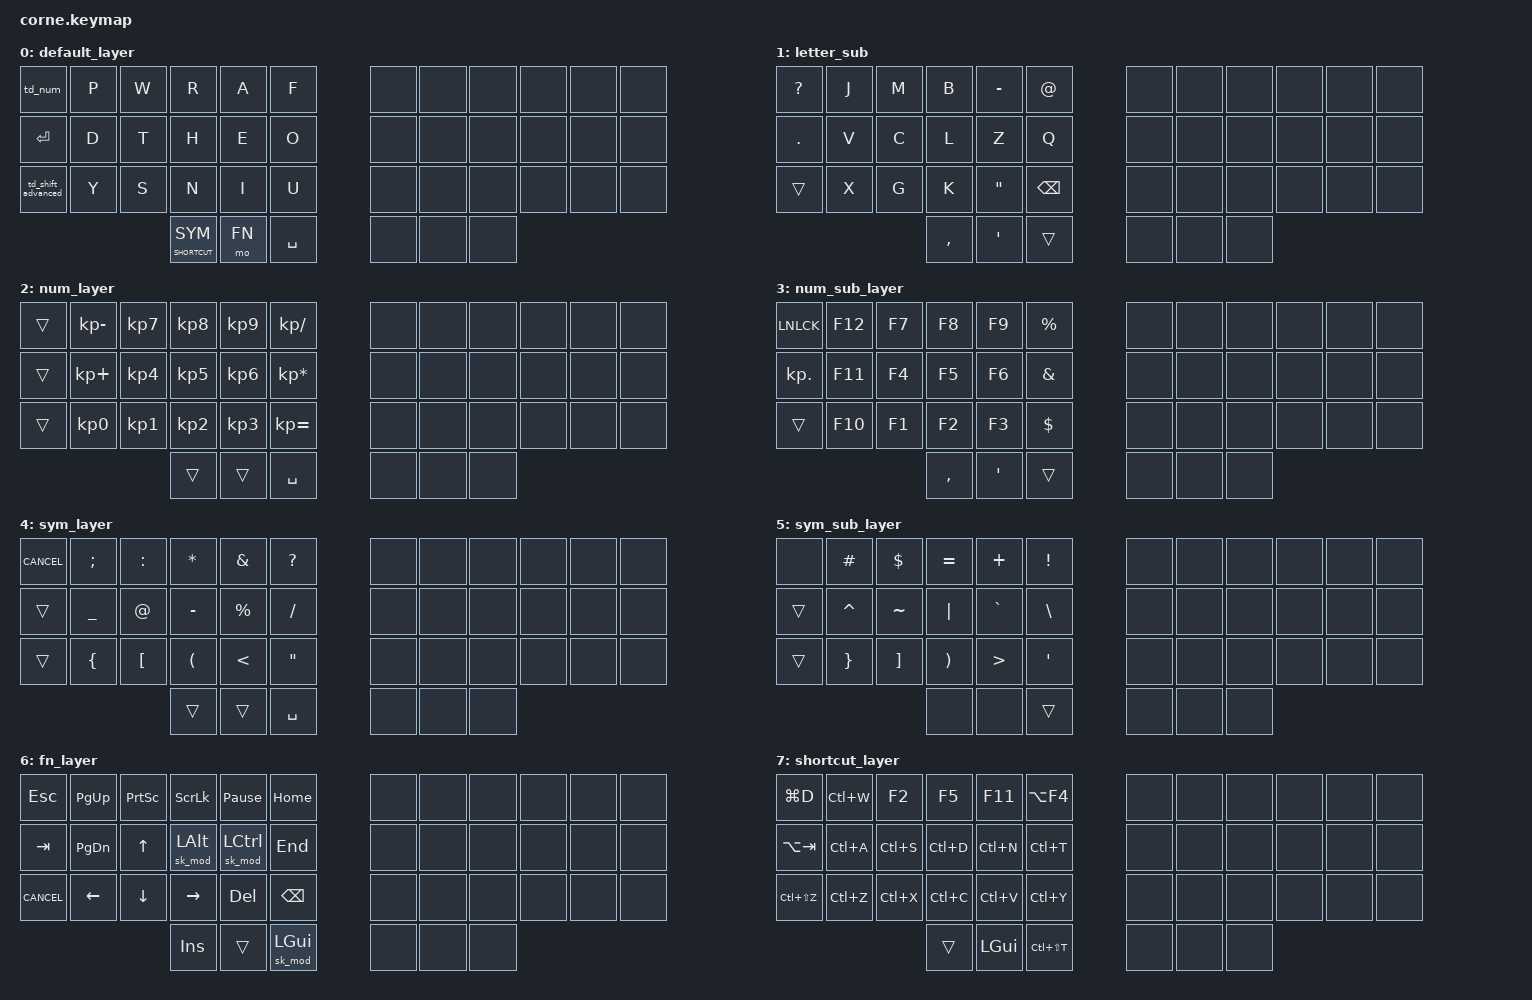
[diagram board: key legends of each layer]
/*
 * Copyright (c) 2020 The ZMK Contributors
 * SPDX-License-Identifier: MIT
 */

#include <behaviors.dtsi>
#include <dt-bindings/zmk/bt.h>
#include <dt-bindings/zmk/keys.h>
#include <dt-bindings/zmk/rgb.h>
#include <dt-bindings/zmk/ext_power.h>

#define DEFAULT 0
#define LETTER_SUB 1
#define NUM 2
#define NUM_SUB 3
#define SYM 4
#define SYM_SUB 5
#define FN 6
#define SHORTCUT 7

/* ตำแหน่ง key-position ของปุ่ม Space ใน flattened bindings array (แถวนิ้วโป้ง ตัวที่ 3) */
#define SPACE_POS 38

/ {
    behaviors {

        /* Custom Sticky Key สำหรับ Modifiers */
        sk_mod: sticky_key_modifiers {
            compatible = "zmk,behavior-sticky-key";
            label = "STICKY_KEY_MODIFIERS";
            #binding-cells = <1>;
            bindings = <&kp>;
            release-after-ms = <60000>; /* ค้างสถานะไว้นานสูงสุด 2 วินาที (ถ้าไม่กดอะไรเลยจะดับเอง) */
            ignore-modifiers;          /* กด Modifier ซ้อนกันหลายตัวได้โดยไม่ล้างสถานะกันเอง */
        };

        /* Tap-Dance Shift: 1 ที = Shift ปกติ, 2 ที = Shift Lock (&kt), 3 ที = Caps Lock */
        td_shift_advanced: tap_dance_shift_advanced {
            compatible = "zmk,behavior-tap-dance";
            label = "TAP_DANCE_SHIFT_ADVANCED";
            #binding-cells = <0>;
            tapping-term-ms = <250>; /* ปรับเวลาหน้าต่างการกดเป็น 250ms เพื่อให้เคาะ 3 ครั้งได้ง่ายขึ้น */
            bindings = <&kp LSHFT>, <&kt LSHFT>, <&kp CAPS>;
        };

        /* Tap-Dance สำหรับ NUM: กด 1 ที = &sl NUM / กด 2 ที = &tog NUM */
        td_num: tap_dance_num {
            compatible = "zmk,behavior-tap-dance";
            label = "TAP_DANCE_NUM";
            #binding-cells = <0>;
            tapping-term-ms = <280>;
            bindings = <&sl NUM>, <&tog NUM>;
        };

        /* 2. Hold-Tap สำหรับ SYM: กดปล่อย = &sl SYM / กดค้าง = เปิด Shortcut Layer (Layer #7) */
        ht_sym_shortcut: hold_tap_sym_shortcut {
            compatible = "zmk,behavior-hold-tap";
            label = "HOLD_TAP_SYM_SHORTCUT";
            #binding-cells = <2>;
            flavor = "balanced";       /* ปรับเป็น balanced เพื่อให้เคาะ Tap ได้ไวและเด็ดขาดขึ้น */
            tapping-term-ms = <170>;   /* ลดเวลาลงเล็กน้อยเพื่อให้ส่ง &sl เร็วขึ้น */
            quick-tap-ms = <125>;      /* ช่วยให้กดพิมพ์รัวๆ ต่อเนื่องได้ไม่หลุด */
            bindings = <&mo>, <&sl>;
        };

    };

    combos {
        compatible = "zmk,combos";

        /* --- LETTER layer: space + key -> letter_sub value (19 combos) --- */
        combo_l_p0 {
            timeout-ms = <60>;
            key-positions = <SPACE_POS 0>;
            layers = <DEFAULT>;
            bindings = <&kp QUESTION>;
        };
        combo_l_p1 {
            timeout-ms = <60>;
            key-positions = <SPACE_POS 1>;
            layers = <DEFAULT>;
            bindings = <&kp J>;
        };
        combo_l_p2 {
            timeout-ms = <60>;
            key-positions = <SPACE_POS 2>;
            layers = <DEFAULT>;
            bindings = <&kp M>;
        };
        combo_l_p3 {
            timeout-ms = <60>;
            key-positions = <SPACE_POS 3>;
            layers = <DEFAULT>;
            bindings = <&kp B>;
        };
        combo_l_p4 {
            timeout-ms = <60>;
            key-positions = <SPACE_POS 4>;
            layers = <DEFAULT>;
            bindings = <&kp MINUS>;
        };
        combo_l_p5 {
            timeout-ms = <60>;
            key-positions = <SPACE_POS 5>;
            layers = <DEFAULT>;
            bindings = <&kp AT>;
        };
        combo_l_p12 {
            timeout-ms = <60>;
            key-positions = <SPACE_POS 12>;
            layers = <DEFAULT>;
            bindings = <&kp DOT>;
        };
        combo_l_p13 {
            timeout-ms = <60>;
            key-positions = <SPACE_POS 13>;
            layers = <DEFAULT>;
            bindings = <&kp V>;
        };
        combo_l_p14 {
            timeout-ms = <60>;
            key-positions = <SPACE_POS 14>;
            layers = <DEFAULT>;
            bindings = <&kp C>;
        };
        combo_l_p15 {
            timeout-ms = <60>;
            key-positions = <SPACE_POS 15>;
            layers = <DEFAULT>;
            bindings = <&kp L>;
        };
        combo_l_p16 {
            timeout-ms = <60>;
            key-positions = <SPACE_POS 16>;
            layers = <DEFAULT>;
            bindings = <&kp Z>;
        };
        combo_l_p17 {
            timeout-ms = <60>;
            key-positions = <SPACE_POS 17>;
            layers = <DEFAULT>;
            bindings = <&kp Q>;
        };
        combo_l_p25 {
            timeout-ms = <60>;
            key-positions = <SPACE_POS 25>;
            layers = <DEFAULT>;
            bindings = <&kp X>;
        };
        combo_l_p26 {
            timeout-ms = <60>;
            key-positions = <SPACE_POS 26>;
            layers = <DEFAULT>;
            bindings = <&kp G>;
        };
        combo_l_p27 {
            timeout-ms = <60>;
            key-positions = <SPACE_POS 27>;
            layers = <DEFAULT>;
            bindings = <&kp K>;
        };
        combo_l_p28 {
            timeout-ms = <60>;
            key-positions = <SPACE_POS 28>;
            layers = <DEFAULT>;
            bindings = <&kp DQT>;
        };
        combo_l_p29 {
            timeout-ms = <60>;
            key-positions = <SPACE_POS 29>;
            layers = <DEFAULT>;
            bindings = <&kp BSPC>;
        };
        combo_l_p36 {
            timeout-ms = <60>;
            key-positions = <SPACE_POS 36>;
            layers = <DEFAULT>;
            bindings = <&kp COMMA>;
        };
        combo_l_p37 {
            timeout-ms = <60>;
            key-positions = <SPACE_POS 37>;
            layers = <DEFAULT>;
            bindings = <&kp SQT>;
        };

        /* --- NUM layer: space + key -> num_sub value (19 combos) --- */
        combo_n_p0 {
            timeout-ms = <60>;
            key-positions = <SPACE_POS 0>;
            layers = <NUM>;
            bindings = <&kp LNLCK>;
        };
        combo_n_p1 {
            timeout-ms = <60>;
            key-positions = <SPACE_POS 1>;
            layers = <NUM>;
            bindings = <&kp F12>;
        };
        combo_n_p2 {
            timeout-ms = <60>;
            key-positions = <SPACE_POS 2>;
            layers = <NUM>;
            bindings = <&kp F7>;
        };
        combo_n_p3 {
            timeout-ms = <60>;
            key-positions = <SPACE_POS 3>;
            layers = <NUM>;
            bindings = <&kp F8>;
        };
        combo_n_p4 {
            timeout-ms = <60>;
            key-positions = <SPACE_POS 4>;
            layers = <NUM>;
            bindings = <&kp F9>;
        };
        combo_n_p5 {
            timeout-ms = <60>;
            key-positions = <SPACE_POS 5>;
            layers = <NUM>;
            bindings = <&kp PRCNT>;
        };
        combo_n_p12 {
            timeout-ms = <60>;
            key-positions = <SPACE_POS 12>;
            layers = <NUM>;
            bindings = <&kp KP_DOT>;
        };
        combo_n_p13 {
            timeout-ms = <60>;
            key-positions = <SPACE_POS 13>;
            layers = <NUM>;
            bindings = <&kp F11>;
        };
        combo_n_p14 {
            timeout-ms = <60>;
            key-positions = <SPACE_POS 14>;
            layers = <NUM>;
            bindings = <&kp F4>;
        };
        combo_n_p15 {
            timeout-ms = <60>;
            key-positions = <SPACE_POS 15>;
            layers = <NUM>;
            bindings = <&kp F5>;
        };
        combo_n_p16 {
            timeout-ms = <60>;
            key-positions = <SPACE_POS 16>;
            layers = <NUM>;
            bindings = <&kp F6>;
        };
        combo_n_p17 {
            timeout-ms = <60>;
            key-positions = <SPACE_POS 17>;
            layers = <NUM>;
            bindings = <&kp AMPS>;
        };
        combo_n_p25 {
            timeout-ms = <60>;
            key-positions = <SPACE_POS 25>;
            layers = <NUM>;
            bindings = <&kp F10>;
        };
        combo_n_p26 {
            timeout-ms = <60>;
            key-positions = <SPACE_POS 26>;
            layers = <NUM>;
            bindings = <&kp F1>;
        };
        combo_n_p27 {
            timeout-ms = <60>;
            key-positions = <SPACE_POS 27>;
            layers = <NUM>;
            bindings = <&kp F2>;
        };
        combo_n_p28 {
            timeout-ms = <60>;
            key-positions = <SPACE_POS 28>;
            layers = <NUM>;
            bindings = <&kp F3>;
        };
        combo_n_p29 {
            timeout-ms = <60>;
            key-positions = <SPACE_POS 29>;
            layers = <NUM>;
            bindings = <&kp DLLR>;
        };
        combo_n_p36 {
            timeout-ms = <60>;
            key-positions = <SPACE_POS 36>;
            layers = <NUM>;
            bindings = <&kp COMMA>;
        };
        combo_n_p37 {
            timeout-ms = <60>;
            key-positions = <SPACE_POS 37>;
            layers = <NUM>;
            bindings = <&kp SQT>;
        };

        /* --- SYM layer: space + key -> sym_sub value (15 combos) --- */
        combo_s_p1 {
            timeout-ms = <60>;
            key-positions = <SPACE_POS 1>;
            layers = <SYM>;
            bindings = <&kp HASH>;
        };
        combo_s_p2 {
            timeout-ms = <60>;
            key-positions = <SPACE_POS 2>;
            layers = <SYM>;
            bindings = <&kp DLLR>;
        };
        combo_s_p3 {
            timeout-ms = <60>;
            key-positions = <SPACE_POS 3>;
            layers = <SYM>;
            bindings = <&kp EQUAL>;
        };
        combo_s_p4 {
            timeout-ms = <60>;
            key-positions = <SPACE_POS 4>;
            layers = <SYM>;
            bindings = <&kp PLUS>;
        };
        combo_s_p5 {
            timeout-ms = <60>;
            key-positions = <SPACE_POS 5>;
            layers = <SYM>;
            bindings = <&kp EXCL>;
        };
        combo_s_p13 {
            timeout-ms = <60>;
            key-positions = <SPACE_POS 13>;
            layers = <SYM>;
            bindings = <&kp CARET>;
        };
        combo_s_p14 {
            timeout-ms = <60>;
            key-positions = <SPACE_POS 14>;
            layers = <SYM>;
            bindings = <&kp TILDE>;
        };
        combo_s_p15 {
            timeout-ms = <60>;
            key-positions = <SPACE_POS 15>;
            layers = <SYM>;
            bindings = <&kp PIPE>;
        };
        combo_s_p16 {
            timeout-ms = <60>;
            key-positions = <SPACE_POS 16>;
            layers = <SYM>;
            bindings = <&kp GRAVE>;
        };
        combo_s_p17 {
            timeout-ms = <60>;
            key-positions = <SPACE_POS 17>;
            layers = <SYM>;
            bindings = <&kp BSLH>;
        };
        combo_s_p25 {
            timeout-ms = <60>;
            key-positions = <SPACE_POS 25>;
            layers = <SYM>;
            bindings = <&kp RBRC>;
        };
        combo_s_p26 {
            timeout-ms = <60>;
            key-positions = <SPACE_POS 26>;
            layers = <SYM>;
            bindings = <&kp RBKT>;
        };
        combo_s_p27 {
            timeout-ms = <60>;
            key-positions = <SPACE_POS 27>;
            layers = <SYM>;
            bindings = <&kp RPAR>;
        };
        combo_s_p28 {
            timeout-ms = <60>;
            key-positions = <SPACE_POS 28>;
            layers = <SYM>;
            bindings = <&kp GT>;
        };
        combo_s_p29 {
            timeout-ms = <60>;
            key-positions = <SPACE_POS 29>;
            layers = <SYM>;
            bindings = <&kp SQT>;
        };
    };

    keymap {
        compatible = "zmk,keymap";

        /* Layer 0: Default Layer (มือซ้ายข้างเดียว) */
        default_layer {
            bindings = <
&td_num              &kp P  &kp W  &kp R  &kp A  &kp F                &none &none &none &none &none &none
&kp ENTER            &kp D  &kp T  &kp H  &kp E  &kp O                &none &none &none &none &none &none
&td_shift_advanced   &kp Y  &kp S  &kp N  &kp I  &kp U                &none &none &none &none &none &none
                     &ht_sym_shortcut SHORTCUT SYM   &mo FN    &kp SPACE   &none &none &none
            >;
        };

        /* Layer 1: LETTER_SUB — เก็บไว้เป็นข้อมูลอ้างอิง ไม่ถูกเข้าถึงโดยตรงแล้ว (ใช้ combo แทน) */
        letter_sub {
            bindings = <
&kp QUESTION    &kp J       &kp M  &kp B  &kp MINUS &kp AT      &none &none &none &none &none &none
&kp DOT         &kp V       &kp C  &kp L  &kp Z     &kp Q       &none &none &none &none &none &none
&trans          &kp X       &kp G  &kp K  &kp DQT   &kp BSPC    &none &none &none &none &none &none
                &kp COMMA   &kp SQT     &trans                  &none &none &none
            >;
        };

        /* Layer 2: NUM (Numpad Keypad) */
        num_layer {
            bindings = <
&trans       &kp KP_MINUS  &kp KP_N7  &kp KP_N8  &kp KP_N9  &kp KP_DIVIDE    &none &none &none &none &none &none
&trans       &kp KP_PLUS   &kp KP_N4  &kp KP_N5  &kp KP_N6  &kp KP_MULTIPLY  &none &none &none &none &none &none
&trans       &kp KP_N0     &kp KP_N1  &kp KP_N2  &kp KP_N3  &kp KP_EQUAL     &none &none &none &none &none &none
                                      &trans     &trans     &kp SPACE        &none &none &none
            >;
        };

        /* Layer 3: NUM_SUB — เก็บไว้เป็นข้อมูลอ้างอิง ไม่ถูกเข้าถึงโดยตรงแล้ว (ใช้ combo แทน) */
        num_sub_layer {
            bindings = <
&kp LNLCK    &kp F12  &kp F7  &kp F8  &kp F9  &kp PRCNT    &none &none &none &none &none &none
&kp KP_DOT   &kp F11  &kp F4  &kp F5  &kp F6  &kp AMPS     &none &none &none &none &none &none
&trans       &kp F10  &kp F1  &kp F2  &kp F3  &kp DLLR     &none &none &none &none &none &none
             &kp COMMA   &kp SQT     &trans                &none &none &none
            >;
        };

        /* Layer 4: SYM */
        sym_layer {
            bindings = <
&kp K_CANCEL  &kp SEMI   &kp COLON &kp STAR  &kp AMPS  &kp QUESTION    &none &none &none &none &none &none
&trans        &kp UNDER  &kp AT    &kp MINUS &kp PRCNT &kp SLASH       &none &none &none &none &none &none
&trans        &kp LBRC   &kp LBKT  &kp LPAR  &kp LT    &kp DQT         &none &none &none &none &none &none
                         &trans    &trans    &kp SPACE                 &none &none &none
            >;
        };

        /* Layer 5: SYM_SUB — เก็บไว้เป็นข้อมูลอ้างอิง ไม่ถูกเข้าถึงโดยตรงแล้ว (ใช้ combo แทน) */
        sym_sub_layer {
            bindings = <
&none      &kp HASH  &kp DLLR  &kp EQUAL &kp PLUS  &kp EXCL     &none &none &none &none &none &none
&trans     &kp CARET &kp TILDE &kp PIPE  &kp GRAVE &kp BSLH     &none &none &none &none &none &none
&trans     &kp RBRC  &kp RBKT  &kp RPAR  &kp GT    &kp SQT      &none &none &none &none &none &none
                     &none    &none   &trans                    &none &none &none
            >;
        };

        /* Layer 6: FN */
        fn_layer {
            bindings = <
&kp ESC        &kp PG_UP  &kp PSCRN    &kp SLCK       &kp PAUSE_BREAK    &kp HOME     &none &none &none &none &none &none
&kp TAB        &kp PG_DN  &kp UP       &sk_mod LALT   &sk_mod LCTRL      &kp END      &none &none &none &none &none &none
&kp K_CANCEL   &kp LEFT   &kp DOWN     &kp RIGHT      &kp DEL            &kp BSPC     &none &none &none &none &none &none
                          &kp INS      &trans         &sk_mod LGUI                    &none &none &none
            >;
        };

        /* Layer 7: SHORT_CUT สำหรับใส่คีย์ลัดต่างๆ เมื่อกดค้างปุ่ม SYM */
        shortcut_layer {
            bindings = <
&kp LG(D)       &kp LC(W)    &kp F2      &kp F5      &kp F11     &kp LA(F4)      &none &none &none &none &none &none
&kp LA(TAB)     &kp LC(A)    &kp LC(S)   &kp LC(D)   &kp LC(N)   &kp LC(T)       &none &none &none &none &none &none
&kp LC(LS(Z))   &kp LC(Z)    &kp LC(X)   &kp LC(C)   &kp LC(V)   &kp LC(Y)       &none &none &none &none &none &none
                             &trans      &kp LGUI    &kp LC(LS(T))                   &none &none &none
            >;
        };

        extra1 { status = "reserved"; };
        extra2 { status = "reserved"; };
        extra3 { status = "reserved"; };
        extra4 { status = "reserved"; };
    };
};
